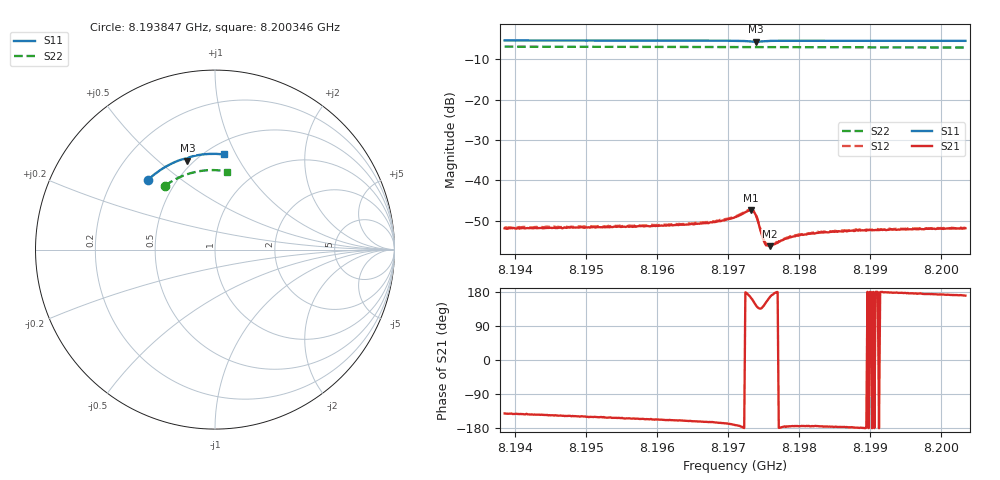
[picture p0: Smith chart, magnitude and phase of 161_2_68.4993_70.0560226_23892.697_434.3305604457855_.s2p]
#  HZ  S  RI  R  50.00
! Rohde & Schwarz Vector Network Analyzer
! Rohde-Schwarz,ZNB20-2Port,1311601062101988,3.16
! Created: UTC 3/20/2024, 5:10:56 PM
! freq[Hz]  re:S11  im:S11  re:S21  im:S21  re:S12  im:S12  re:S22  im:S22
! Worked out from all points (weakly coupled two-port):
!   401 points, 8.193847 GHz to 8.200346 GHz, reference 50 ohm
!   highest |S21| = -47.36 dB at 8.197324 GHz (marker M1); lowest = -56.3 dB at 8.197584 GHz (marker M2)
!   lowest |S11| = -5.7 dB at 8.197389 GHz (marker M3), VSWR 3.16, Z = 23.2 + j31.4 ohm
!   |S11| at or under -10 dB: nowhere
!   |S22| runs from -7.1 to -6.9 dB; largest |S21 - S12| = 0.00023
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8.1938468e9  -0.3719 0.3897  -0.00199 -0.00161  -0.00207 -0.0016  -0.278 0.3555
8.1949354e9  -0.3123 0.438  -0.00225 -0.00139  -0.00234 -0.00129  -0.227 0.3884
8.1960239e9  -0.2459 0.4772  -0.00254 -0.00106  -0.00262 -0.000992  -0.1714 0.4141
8.1967063e9  -0.2006 0.497  -0.00285 -0.00084  -0.00296 -0.000757  -0.1349 0.426
8.1969013e9  -0.1867 0.5017  -0.00306 -0.000748  -0.00314 -0.000651  -0.1244 0.429
8.1970962e9  -0.1714 0.5054  -0.00348 -0.000515  -0.00357 -0.000421  -0.1137 0.4316
8.197275e9  -0.1552 0.5038  -0.00415 0.00044  -0.00422 0.000633  -0.1037 0.4336
8.1973237e9  -0.1519 0.5003  -0.0041 0.00123  -0.00415 0.00138  -0.101 0.4341
8.1973562e9  -0.1519 0.4973  -0.00374 0.00176  -0.00376 0.00196  -0.0993 0.4343
8.1973887e9  -0.1539 0.4958  -0.00307 0.00214  -0.00305 0.00231  -0.0976 0.4346
8.1974212e9  -0.1563 0.4967  -0.00231 0.00209  -0.00223 0.00223  -0.0961 0.435
8.1974699e9  -0.1576 0.501  -0.00159 0.00151  -0.00158 0.00163  -0.0933 0.4357
8.1975024e9  -0.1564 0.5042  -0.00144 0.00107  -0.00144 0.00116  -0.0915 0.4359
8.1975349e9  -0.1544 0.507  -0.0014 0.000727  -0.00144 0.000824  -0.0898 0.4363
8.1975837e9  -0.1508 0.51  -0.00149 0.000403  -0.0015 0.000476  -0.0869 0.4369
8.1976324e9  -0.147 0.5123  -0.0016 0.000199  -0.00161 0.000293  -0.0843 0.4373
8.1977786e9  -0.1355 0.517  -0.00184 -0.000122  -0.00189 -2.63e-05  -0.076 0.4385
8.1978761e9  -0.1283 0.5191  -0.00197 -0.000171  -0.00204 -0.000108  -0.0709 0.4394
8.1981848e9  -0.1057 0.5243  -0.00219 -0.00022  -0.00226 -0.000148  -0.0531 0.4413
8.1986397e9  -0.0731 0.5295  -0.00237 -0.00014  -0.00242 -1.01e-05  -0.0274 0.4428
8.1992734e9  -0.0281 0.5332  -0.00246 8.76e-05  -0.00253 0.000189  0.00855 0.4425
8.2003457e9  0.0478 0.5305  -0.00252 0.00045  -0.00253 0.000585  0.0691 0.435
